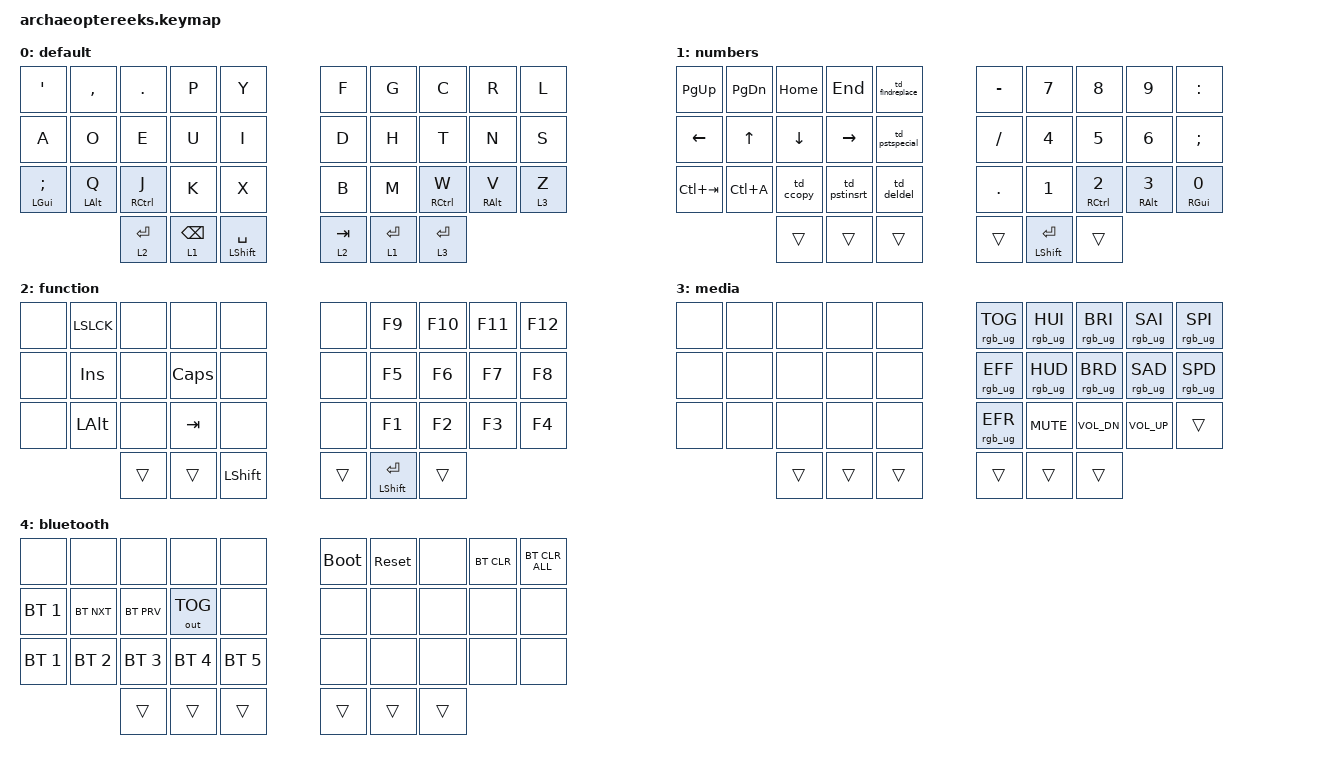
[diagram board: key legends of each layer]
/*
 * Copyright (c) 2020 The ZMK Contributors
 *
 * SPDX-License-Identifier: MIT
 */

 #include <behaviors.dtsi>
 #include <dt-bindings/zmk/keys.h>
 #include <dt-bindings/zmk/bt.h>
 #include <dt-bindings/zmk/outputs.h>
 #include <dt-bindings/zmk/rgb.h>
 

#define DEFAULT 0
#define NUMB   1
#define FUNC   2
#define MDIA   3
#define BLTH   4

#define ALL_LYR 0 1 2 3 4

#define COMBO(NAME, BINDINGS, KEYPOS, TERM, LAYERS) \
        combo_##NAME {\
            timeout-ms = <TERM>;\
            bindings = <BINDINGS>;\
            key-positions = <KEYPOS>;\
            layers = <LAYERS>;\
        };
        
 #define TDANCE(NAME, LABEL, B1, B2 )\
        td_##NAME: ##NAME {\
            compatible = "zmk,behavior-tap-dance";\
            label = ##LABEL;\
            #binding-cells = <0>;\
            tapping-term-ms = <200>;\
            bindings = <B1>, <B2>;\
        }; 

&led_strip {
    chain-length = <36>;
};

// Using layer taps on thumbs, having quick tap as well helps w/ repeating space/backspace
&lt { quick_tap_ms = <200>; };
&mt {
    tapping-term-ms = <200>;
};

/ {
    conditional_layers {
        compatible = "zmk,conditional-layers";
        tri_layer {
            if-layers = <2 3>;
            then-layer = <4>;
        };
    };
};

/ {
    macros {
        pstval: pstval {
            compatible = "zmk,behavior-macro";
            #binding-cells = <0>;
            bindings
                = <&macro_tap &kp LALT>
                , <&macro_tap &kp E &kp S>
                , <&macro_tap &kp V>
                ;
        };
        pstform: pstform {
            compatible = "zmk,behavior-macro";
            #binding-cells = <0>;
            bindings
            = <&macro_tap &kp LALT>
                , <&macro_tap &kp E &kp S>
                , <&macro_tap &kp T>
                ;
        };
        celdel: celdel {
            compatible = "zmk,behavior-macro";
            #binding-cells = <0>;
            bindings
                = <&macro_press &kp LALT>
                , <&macro_tap &kp E>
                , <&macro_tap &kp D>
                , <&macro_release &kp LALT>
                ;
        };
        xcelins: xcelins {
            compatible = "zmk,behavior-macro";
            #binding-cells = <0>;
            bindings
                = <&macro_press &kp LALT>
                , <&macro_tap &kp I>
                , <&macro_tap &kp E>
                , <&macro_release &kp LALT>
                ;
        };
    };
};

/*                KEY POSITIONS

  ╭────────────────────╮ ╭────────────────────╮
  │  0   1   2   3   4 │ │  5   6   7   8   9 │
  │ 10  11  12  13  14 │ │ 15  16  17  18  19 │
  │ 20  21  22  23  24 │ │ 25  26  27  28  29 │
  ╰────────╮30  31  32 │ │ 33  34  35╭────────╯
           ╰───────────╯ ╰───────────╯            */
 
 / {
    behaviors {
        shm: sub_homerow_mods {
            compatible = "zmk,behavior-hold-tap";
            #binding-cells = <2>;
            tapping-term-ms = <150>;
            quick-tap-ms = <0>;
            flavor = "tap-preferred";
            bindings = <&kp>, <&kp>;
        };

         TDANCE(ccopy, "ccopy", &kp LC(C) , &kp LC(X) ) 
         TDANCE(pstspecial, "pstspecial", &pstform , &pstval ) 
         TDANCE(deldel, "deldel", &kp DEL, &celdel ) 
         TDANCE(pstinsrt, "pstinsrt", &kp LC(V) , &xcelins ) 
         TDANCE(findreplace, "findreplace", &kp LC(F) , &kp LC(H) ) 
    };
 
     combos {
        compatible = "zmk,combos";
        COMBO(combo_esc, &kp ESC,     0 1,      50, DEFAULT)
        COMBO(c_dqt,     &kp DQT,     0 11,     50, DEFAULT)
        COMBO(cquestion, &kp QMARK,   1 2,      50, DEFAULT)
        COMBO(c_at,      &kp AT,      1 10,     50, DEFAULT)
        COMBO(cexclaim,  &kp EXCL,    2 3,      50, DEFAULT)
        COMBO(cpound,    &kp HASH,    2 11,     50, DEFAULT)
        COMBO(cdollar,   &kp DLLR,    3 12,     50, DEFAULT)
        COMBO(cpercent,  &kp PRCNT,   4 13,     50, DEFAULT)
        COMBO(c_amp,     &kp AMPS,    13 14,    50, DEFAULT)

        COMBO(clbrace,   &kp LBRC,    10 11,    50, DEFAULT)
        COMBO(crbrace,   &kp RBRC,    10 12,    50, DEFAULT)
        COMBO(crbrak,    &kp RBKT,    10 13,    50, DEFAULT)
        COMBO(clbrak,    &kp LBKT,    11 12,    50, DEFAULT)
        COMBO(c_lpar,    &kp LPAR,    11 13,    50, DEFAULT)
        COMBO(c_rpar,    &kp RPAR,    12 13,    50, DEFAULT)
        
        COMBO(ccaret,    &kp CARET,   10 23,    50, DEFAULT)
        COMBO(c_tild,    &kp TILDE,   11 23,    50, DEFAULT)
        COMBO(c_grv,     &kp GRAVE,   12 23,    50, DEFAULT)

        COMBO(c_min,     &kp MINUS,   5 6,      50, DEFAULT)
        COMBO(c_pipe,    &kp PIPE,    6 7,      50, DEFAULT)
        COMBO(c_bslh,    &kp BSLH,    6 8,      50, DEFAULT)
        COMBO(c_under,   &kp UNDER,   7 8,      50, DEFAULT)
        COMBO(c_dblqt,   &kp LS(SQT), 15 16,    50, DEFAULT)
        COMBO(c_fslh,    &kp FSLH,    16 18,    50, DEFAULT)
        COMBO(c_aster,   &kp ASTRK,   17 18,    50, DEFAULT)
        
        COMBO(cplus,     &kp KP_PLUS, 5 16,     50, 1)
        //COMBO(uxgrav,    &kp GRAVE,   13 24,    50, 0 1)
        COMBO(cmult,     &kp ASTRK,   15 16,    50, 1)
        COMBO(cequ,      &kp EQUAL,   17 26,    50, 0 1)


    };
 
     keymap {
         compatible = "zmk,keymap";
 
         default {
 // --------------------------------------------------------------------------------------------------------------------------------------------------------------------
 //                     Default, Dvorak
            bindings = <
            &kp SQT       &kp COMMA   &kp DOT      &kp P      &kp Y             &kp F     &kp G     &kp C        &kp R       &kp L
            &kp A         &kp O       &kp E        &kp U      &kp I             &kp D     &kp H     &kp T        &kp N       &kp S
            &mt LGUI SEMI &shm LALT Q &shm RCTRL J &kp K      &kp X             &kp B     &kp M     &shm RCTRL W &shm RALT V &lt 3 Z
                          &lt 2 RET   &lt 1 BSPC  &mt LSHIFT SPACE                        &lt 2 TAB &lt 1 RET    &lt 3 RET
             >;
         };
         numbers {
 // --------------------------------------------------------------------------------------------------------------------------------------------------------------------
           bindings = <
            &kp PG_UP   &kp PG_DN &kp HOME  &kp END   &td_findreplace    &kp MINUS  &kp N7   &kp N8         &kp N9       &kp COLON
            &kp LEFT    &kp UP    &kp DOWN  &kp RIGHT &td_pstspecial     &kp FSLH   &kp N4   &kp N5         &kp N6       &kp SEMI
            &kp LC(TAB) &kp LC(A) &td_ccopy &td_pstinsrt &td_deldel      &kp DOT    &kp N1   &shm RCTRL N2  &shm RALT N3 &shm RGUI N0
                        &trans    &trans    &trans                                  &trans   &mt LSHIFT RET &trans
            >;
         };
         function {
 // --------------------------------------------------------------------------------------------------------------------------------------------------------------------
            bindings = <
            &none        &kp LSLCK  &none       &none        &none            &none      &kp F9       &kp F10      &kp F11  &kp F12
            &none        &kp INS    &none       &kp CAPS     &none            &none      &kp F5       &kp F6       &kp F7   &kp F8
            &none        &kp LALT   &none       &kp TAB      &none            &none      &kp F1       &kp F2       &kp F3   &kp F4
                         &trans     &trans      &kp LSHIFT                               &trans       &mt LSHIFT RET   &trans
               >;
         }; 
         
        media {
 // --------------------------------------------------------------------------------------------------------------------------------------------------------------------
            bindings = <
            &none  &none   &none   &none  &none       &rgb_ug RGB_TOG &rgb_ug RGB_HUI &rgb_ug RGB_BRI &rgb_ug RGB_SAI &rgb_ug RGB_SPI
            &none  &none   &none   &none  &none       &rgb_ug RGB_EFF &rgb_ug RGB_HUD &rgb_ug RGB_BRD &rgb_ug RGB_SAD &rgb_ug RGB_SPD
            &none  &none   &none   &none  &none       &rgb_ug RGB_EFR &kp C_MUTE      &kp C_VOL_DN    &kp C_VOL_UP    &trans
                   &trans  &trans &trans                              &trans          &trans          &trans
               >;
         };
         bluetooth {
 // --------------------------------------------------------------------------------------------------------------------------------------------------------------------
            bindings = <
            &none        &none        &none        &none        &none            &bootloader &sys_reset &none      &bt BT_CLR   &bt BT_CLR_ALL
            &bt BT_SEL 1 &bt BT_NXT   &bt BT_PRV   &out OUT_TOG &none            &none       &none      &none      &none        &none
            &bt BT_SEL 1 &bt BT_SEL 2 &bt BT_SEL 3 &bt BT_SEL 4 &bt BT_SEL 5     &none       &none      &none      &none        &none
                         &trans       &trans       &trans                                    &trans     &trans     &trans
               >;
         }; 
         
     };
 };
